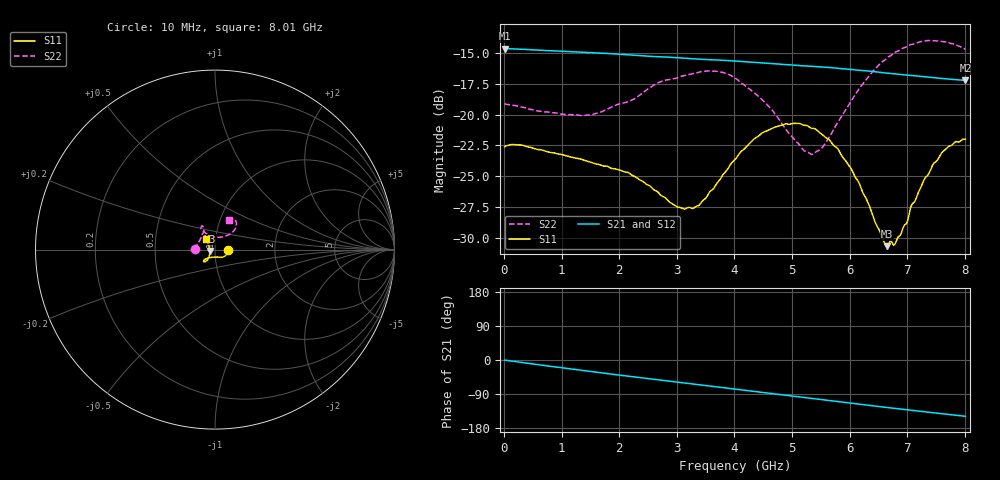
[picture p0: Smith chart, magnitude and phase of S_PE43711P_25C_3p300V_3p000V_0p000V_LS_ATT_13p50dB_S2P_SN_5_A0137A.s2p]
! Device ID: PE43711P
! File Path: z:\PE43711P\CHAR_NOM_04282014\AMB\3p300\LS_ATT_13p50dB\PE43711P_AMB_3p300V_3p000V_0p000V_LS_ATT_13p50dB_S2P_SN_5_A0137A.s2p
! Serial: 5
! Lot: A0137A
! Temp: 25C
! VDD: 3.300
! VSS: 0.000
! Control_Hi: 3.000
! Control_Lo: 0.000
! Attenuation Step: 13.50dB
! Port 1: RF1
! Port 2: RF2
! ThroughPath:1-2
! IDD: 0.0001279595
! ISS: -1.769e-007
#  Hz  S  RI  R  50
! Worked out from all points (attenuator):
!   801 points, 10 MHz to 8.01 GHz, reference 50 ohm
!   highest |S21| = -14.65 dB at 10 MHz (marker M1); lowest = -17.2 dB at 8.01 GHz (marker M2)
!   lowest |S11| = -30.7 dB at 6.65 GHz (marker M3), VSWR 1.06, Z = 47.2 - j0.663 ohm
!   |S11| at or under -10 dB: start of sweep to end of sweep
!   |S22| runs from -23.2 to -14.0 dB; largest |S21 - S12| = 0.00037
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1e7  0.0741 -9.34e-05  0.1852 -0.000885  0.1854 -0.000968  -0.1109 0.000896
1.35e9  0.0543 -0.037  0.1594 -0.0821  0.1595 -0.0822  -0.0859 0.0494
2.15e9  0.0385 -0.0437  0.1285 -0.1187  0.1287 -0.1187  -0.0678 0.09
2.68e9  0.0237 -0.042  0.1045 -0.1363  0.1046 -0.1364  -0.064 0.1188
3.01e9  0.00973 -0.0411  0.0885 -0.1454  0.0885 -0.1455  -0.0651 0.1252
3.3e9  -0.00487 -0.0416  0.0737 -0.1514  0.0738 -0.1515  -0.0683 0.1306
3.69e9  -0.0276 -0.0445  0.0539 -0.1576  0.0538 -0.1576  -0.0754 0.1296
4.01e9  -0.0444 -0.0484  0.0367 -0.1608  0.0366 -0.1609  -0.0772 0.1177
4.34e9  -0.0577 -0.0549  0.0192 -0.1618  0.0193 -0.162  -0.0662 0.1034
4.69e9  -0.0632 -0.0622  0.000954 -0.1609  0.000885 -0.1609  -0.0494 0.0889
5.19e9  -0.0598 -0.0684  -0.0239 -0.156  -0.024 -0.156  -0.00955 0.0715
5.35e9  -0.0568 -0.0671  -0.0317 -0.1538  -0.0317 -0.1539  0.00723 0.0686
5.55e9  -0.0506 -0.0645  -0.0412 -0.1504  -0.0412 -0.1505  0.0292 0.0688
6.01e9  -0.0368 -0.0488  -0.0616 -0.1397  -0.0618 -0.1397  0.0758 0.0826
6.65e9  -0.0284 -0.00701  -0.0852 -0.1202  -0.0853 -0.1204  0.1157 0.124
6.68e9  -0.0296 -0.0046  -0.0862 -0.1194  -0.0862 -0.1195  0.1163 0.1266
6.78e9  -0.0296 0.00155  -0.0893 -0.116  -0.0892 -0.1161  0.1187 0.1334
6.88e9  -0.0312 0.00877  -0.0922 -0.1126  -0.0922 -0.1127  0.1196 0.1396
7.09e9  -0.0364 0.0238  -0.0981 -0.1055  -0.0981 -0.1055  0.1178 0.1528
7.46e9  -0.0441 0.0454  -0.1071 -0.0921  -0.1071 -0.0922  0.1049 0.1698
7.7e9  -0.0492 0.0548  -0.1119 -0.0834  -0.1119 -0.0832  0.0919 0.1739
8.01e9  -0.0509 0.0609  -0.1174 -0.072  -0.1175 -0.0717  0.078 0.1669
